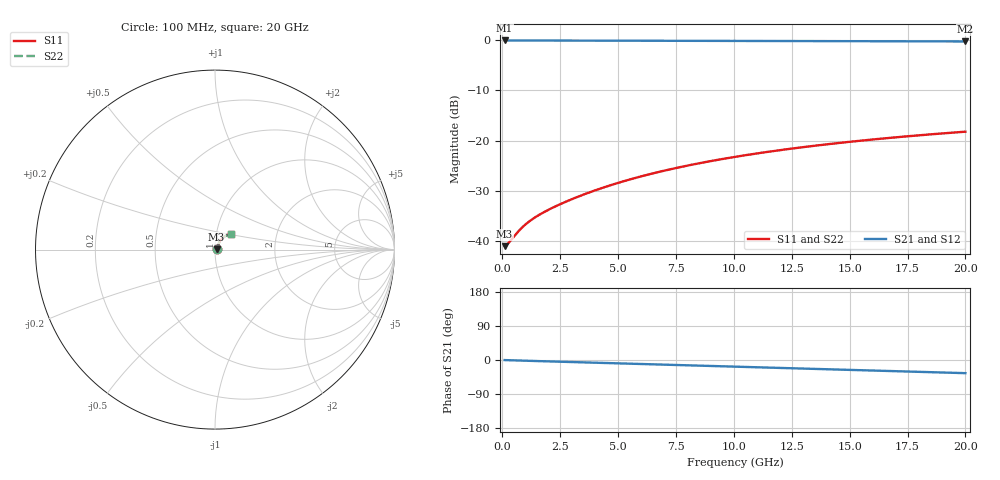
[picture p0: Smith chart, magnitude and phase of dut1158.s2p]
! Touchstone file exported from HFSS 2026.1.0
!  File:  C:/ffzhzh/LocalFiles/Ansys_Project_Files/temp_train_BSMRDL_1158_1783175752_22436.aedt
!  Generated:  10:36:59 PM Jul  4, 2026
!  Design:  BSMRDL
!  Project:  temp_train_BSMRDL_1158_1783175752_22436
! Variables:
!  h_bsmrdl = 2.02um
!  h_ox = 20um
!  h_rdl = 5um
!  h_sub = 80um
!  h_tmrdl = 5um
!  h_tsv = 80um
!  h_via = 3um
!  l_bsmrdl = 614.89um
!  l_sub = 1014.89um
!  l_tmrdl = 200um
!  m_sub = 200um
!  pitch = 16.19um
!  r_tsv = 6um
!  s_tmrdl = 10um
!  w_bsmrdl = 12.28um
!  w_sub = 500um
!  w_tmrdl = 12um
!  x_tsv_center1 = 206um
!  x_tsv_center2 = 833.17um
!  x_tsv_center3 = 1045.17um
!  x_tsv_center4 = 1672.34um
!  x_tsv_center5 = 1884.34um
!  x_tsv_center6 = 2511.51um
# GHz S MA R 50.000000
! Terminal data exported
! Port[1] = BSM_RDL1_1_T1
! Port[2] = BSM_RDL1_1_T2
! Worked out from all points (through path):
!   200 points, 100 MHz to 20 GHz, reference 50 ohm
!   highest |S21| = -0.08 dB at 100 MHz (marker M1); lowest = -0.3 dB at 20 GHz (marker M2)
!   group delay of S21, straight-line fit = 4.81 ps
!   lowest |S11| = -41.0 dB at 100 MHz (marker M3), VSWR 1.02, Z = 50.9 + j0.115 ohm
!   |S11| at or under -10 dB: start of sweep to end of sweep
!   |S22| runs from -41.0 to -18.2 dB; largest |S21 - S12| = 4.8e-15
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0.1  0.008925 7.3  0.9911 -0.2  0.9911 -0.2  0.008925 7.3
! Gamma 0 0 0 0
! Port Impedance 50 0 50 0
0.2  0.00926 14.0  0.991 -0.4  0.991 -0.4  0.009257 14.0
0.3  0.009768 19.7  0.9908 -0.6  0.9908 -0.6  0.009762 19.8
0.7  0.01256 33.7  0.9897 -1.4  0.9897 -1.4  0.01256 33.8
0.9  0.01399 37.2  0.9891 -1.7  0.9891 -1.7  0.01399 37.4
1.1  0.01532 39.8  0.9885 -2.1  0.9885 -2.1  0.01533 39.9
1.4  0.01717 42.8  0.9879 -2.6  0.9879 -2.6  0.01719 42.9
1.8  0.01945 46.0  0.9872 -3.3  0.9872 -3.3  0.01949 46.1
2.3  0.02222 49.4  0.9867 -4.2  0.9867 -4.2  0.02226 49.4
2.9  0.02558 52.6  0.9862 -5.2  0.9862 -5.2  0.02562 52.5
3.5  0.02903 55.0  0.9857 -6.3  0.9857 -6.3  0.02907 54.9
4.3  0.03377 57.3  0.9852 -7.7  0.9852 -7.7  0.03381 57.1
5.1  0.03862 58.7  0.9846 -9.1  0.9846 -9.1  0.03866 58.5
5.9  0.04353 59.4  0.9841 -10.5  0.9841 -10.5  0.04357 59.2
6.8  0.04909 59.8  0.9834 -12.0  0.9834 -12.0  0.04914 59.5
8.4  0.05894 59.4  0.982 -14.8  0.982 -14.8  0.05901 59.0
10.1  0.06925 58.1  0.9804 -17.8  0.9804 -17.8  0.06934 57.7
11.7  0.07872 56.5  0.9788 -20.5  0.9788 -20.5  0.07884 56.0
13.4  0.08847 54.4  0.9769 -23.5  0.9769 -23.5  0.08862 53.8
15  0.09733 52.3  0.975 -26.2  0.975 -26.2  0.0975 51.6
16.7  0.1064 49.9  0.973 -29.1  0.973 -29.1  0.1066 49.2
20  0.1227 45.1  0.969 -34.7  0.969 -34.7  0.123 44.2
